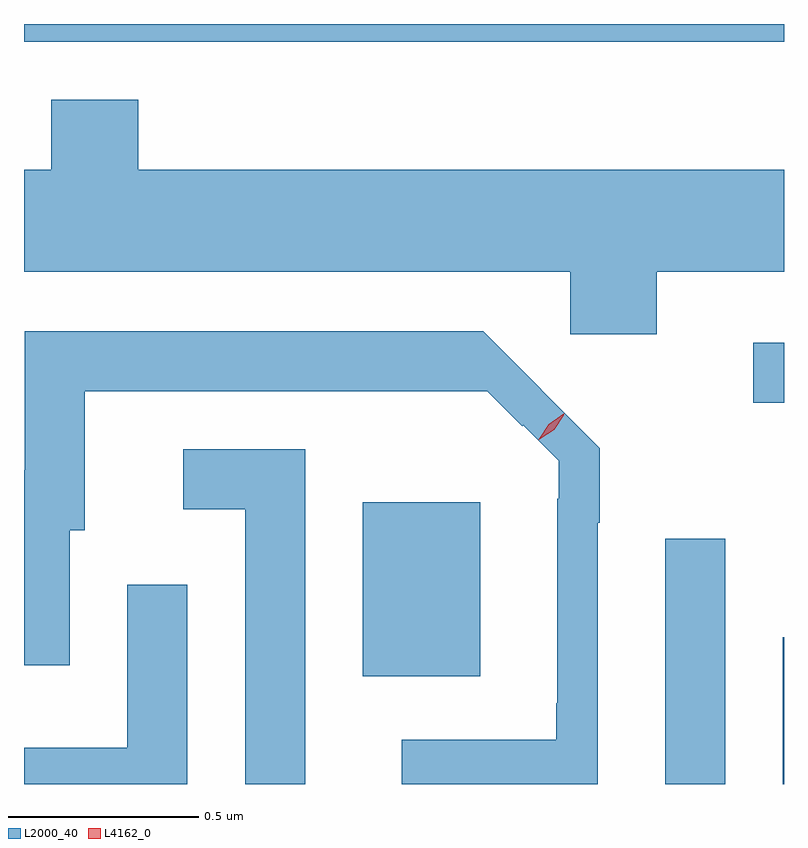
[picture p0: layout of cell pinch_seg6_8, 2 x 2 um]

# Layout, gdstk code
import gdstk
lib = gdstk.Library(unit=1e-6, precision=1e-09)
def R(c, l, rs):  # rectangles x0, y0, x1, y1
    for r in rs: c.add(gdstk.rectangle(r[:2], r[2:], *l))
def P(c, l, *ps):  # polygons
    for p in ps: c.add(gdstk.Polygon(p, *l))
L2000_40 = (2000, 40)
L4162_0 = (4162, 0)

pinch_seg6_8 = lib.new_cell('pinch_seg6_8')
R(pinch_seg6_8, L2000_40, [(826.496,1661.908,826.654,1662.553), (826.806,1661.908,826.809,1662.294), (825.701,1662.191,826.009,1662.649), (826.728,1662.911,826.809,1663.069), (824.809,1663.861,826.809,1663.908)])
P(pinch_seg6_8, L2000_40, [(826.474,1663.256),(826.809,1663.256),(826.809,1663.524),(825.109,1663.524),(825.109,1663.709),(824.881,1663.709),(824.881,1663.524),(824.809,1663.524),(824.809,1663.256),(826.246,1663.256),(826.246,1663.091),(826.474,1663.091)],
  [(826.319,1662.595),(826.324,1662.595),(826.324,1662.792),(826.017,1663.099),(824.811,1663.099),(824.811,1662.734),(824.809,1662.734),(824.809,1662.221),(824.929,1662.221),(824.929,1662.576),(824.969,1662.576),(824.969,1662.941),(825.93,1662.941),(825.93,1662.942),(826.028,1662.942),(826.12,1662.849),(826.123,1662.852),(826.216,1662.759),(826.216,1662.659),(826.212,1662.659),(826.212,1662.12),(826.21,1662.12),(826.21,1662.024),(825.803,1662.024),(825.803,1661.908),(826.319,1661.908)],
  [(825.549,1662.789),(825.228,1662.789),(825.228,1662.631),(825.391,1662.631),(825.391,1661.908),(825.549,1661.908)],
  [(825.239,1662.433),(825.081,1662.433),(825.081,1662.004),(824.809,1662.004),(824.809,1661.908),(825.239,1661.908)])
P(pinch_seg6_8, L4162_0, [(826.166,1662.816),(826.166,1662.817),(826.19,1662.855),(826.228,1662.879),(826.229,1662.879),(826.229,1662.878),(826.204,1662.84),(826.167,1662.816)],
  [(826.162,1662.813),(826.162,1662.813),(826.19,1662.855),(826.231,1662.884),(826.231,1662.884),(826.231,1662.883),(826.204,1662.841),(826.162,1662.813)])

lib.write_gds('pinch_seg6_8.gds')
